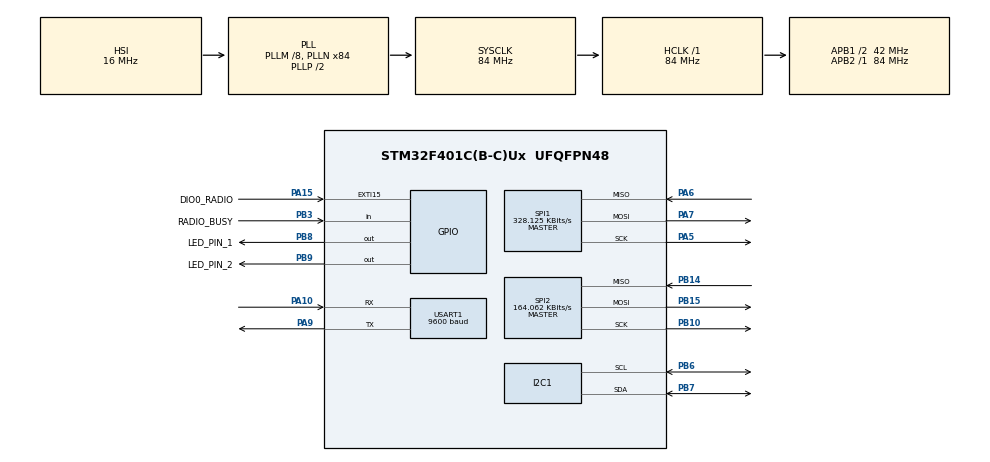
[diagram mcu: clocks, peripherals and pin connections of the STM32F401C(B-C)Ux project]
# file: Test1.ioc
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Mcu.Family=STM32F4
Mcu.Name=STM32F401C(B-C)Ux
Mcu.Package=UFQFPN48
NVIC.PriorityGroup=NVIC_PRIORITYGROUP_4
PA10.Mode=Asynchronous
PA10.Signal=USART1_RX
PA15.GPIO_Label=DIO0_RADIO
PA15.Signal=GPXTI15
PA5.Mode=Full_Duplex_Master
PA5.Signal=SPI1_SCK
PA6.Mode=Full_Duplex_Master
PA6.Signal=SPI1_MISO
PA7.Mode=Full_Duplex_Master
PA7.Signal=SPI1_MOSI
PA9.Mode=Asynchronous
PA9.Signal=USART1_TX
PB10.Mode=Full_Duplex_Master
PB10.Signal=SPI2_SCK
PB14.Mode=Full_Duplex_Master
PB14.Signal=SPI2_MISO
PB15.Mode=Full_Duplex_Master
PB15.Signal=SPI2_MOSI
PB3.GPIO_Label=RADIO_BUSY
PB3.Signal=GPIO_Input
PB6.Mode=I2C
PB6.Signal=I2C1_SCL
PB7.Mode=I2C
PB7.Signal=I2C1_SDA
PB8.GPIO_Label=LED_PIN_1
PB8.Signal=GPIO_Output
PB9.GPIO_Label=LED_PIN_2
PB9.Signal=GPIO_Output
PH0\ -\ OSC_IN.Mode=HSE-External-Oscillator
PH0\ -\ OSC_IN.Signal=RCC_OSC_IN
PH1\ -\ OSC_OUT.Mode=HSE-External-Oscillator
PH1\ -\ OSC_OUT.Signal=RCC_OSC_OUT
ProjectManager.HeapSize=0x400
ProjectManager.StackSize=0x800
ProjectManager.TargetToolchain=STM32CubeIDE
RCC.48MHZClocksFreq_Value=42000000
RCC.AHBFreq_Value=84000000
RCC.APB1CLKDivider=RCC_HCLK_DIV2
RCC.APB1Freq_Value=42000000
RCC.APB1TimFreq_Value=84000000
RCC.APB2Freq_Value=84000000
RCC.APB2TimFreq_Value=84000000
RCC.CortexFreq_Value=84000000
RCC.HCLKFreq_Value=84000000
RCC.HSE_VALUE=25000000
RCC.HSI_VALUE=16000000
RCC.LSE_VALUE=32768
RCC.PLLM=8
RCC.PLLN=84
RCC.SYSCLKFreq_VALUE=84000000
RCC.SYSCLKSource=RCC_SYSCLKSOURCE_PLLCLK
RCC.VCOOutputFreq_Value=168000000
SPI1.BaudRatePrescaler=SPI_BAUDRATEPRESCALER_256
SPI1.CalculateBaudRate=328.125 KBits/s
SPI1.Direction=SPI_DIRECTION_2LINES
SPI1.Mode=SPI_MODE_MASTER
SPI1.VirtualType=VM_MASTER
SPI2.BaudRatePrescaler=SPI_BAUDRATEPRESCALER_256
SPI2.CalculateBaudRate=164.062 KBits/s
SPI2.Direction=SPI_DIRECTION_2LINES
SPI2.Mode=SPI_MODE_MASTER
SPI2.VirtualType=VM_MASTER
USART1.BaudRate=9600
USART1.VirtualMode=VM_ASYNC
board=custom

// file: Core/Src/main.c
/* USER CODE BEGIN Header */
/**
  ******************************************************************************
  * @file           : main.c
  * @brief          : Main program body
  ******************************************************************************
  * @attention
  *
  * Copyright (c) 2026 STMicroelectronics.
  * All rights reserved.
  *
  * This software is licensed under terms that can be found in the LICENSE file
  * in the root directory of this software component.
  * If no LICENSE file comes with this software, it is provided AS-IS.
  *
  ******************************************************************************
  */
/* USER CODE END Header */
#include "main.h"
#include "i2c.h"
#include "spi.h"
#include "usart.h"
#include "gpio.h"

/* USER CODE BEGIN Includes */
#include "serial_print.h"
#include "lis3mdl.h"
#include "bmp388.h"
#include "mpu6050.h"
#include "hmc5883l.h"
#include "lora278.h"
#include "motor_control.h"
#include "pca9685.h"
#include <stdio.h>
#include <stdlib.h>
/* USER CODE END Includes */

/* USER CODE BEGIN PV */
typedef enum { STATE_WAIT, STATE_FLIGHT, STATE_EMERGENCY } State_t;
State_t current_state = STATE_WAIT;
/* USER CODE END PV */

void SystemClock_Config(void);

int main(void)
{

  /* MCU Configuration--------------------------------------------------------*/

  /* Reset of all peripherals, Initializes the Flash interface and the Systick. */
  HAL_Init();

  /* Configure the system clock */
  SystemClock_Config();

  /* Initialize all configured peripherals */
  MX_GPIO_Init();
  MX_USART1_UART_Init();
  MX_SPI2_Init();
  MX_I2C1_Init();
  MX_SPI1_Init();
  /* USER CODE BEGIN 2 */
  Serial_Printf(&huart1, "\r\n--- Step4_Logic INIT ---\r\n");

  uint32_t last_tick = HAL_GetTick();
  /* USER CODE END 2 */

  /* Infinite loop */
  /* USER CODE BEGIN WHILE */
  while (1)
  {
      if (HAL_GetTick() - last_tick >= 500) {
          last_tick = HAL_GetTick();

          // Симуляция показаний АЦП с помощью чтения состояния пина (например, PB12)
          // 0 - темно (в ракете), 1 - светло (отделение)
          int adc_sim = HAL_GPIO_ReadPin(GPIOB, GPIO_PIN_12) == GPIO_PIN_SET ? 1 : 0;

          if (current_state == STATE_WAIT) {
              Serial_Printf(&huart1, "[STATE: WAIT] Sensor: %d. Waiting for separation...\r\n", adc_sim);
              if (adc_sim == 1) {
                  current_state = STATE_FLIGHT;
                  Serial_Printf(&huart1, ">>> SEPARATION DETECTED! SWITCHING TO FLIGHT MODE <<<\r\n");
              }
          }
          else if (current_state == STATE_FLIGHT) {
              Serial_Printf(&huart1, "[STATE: FLIGHT] Stabilizing and planning...\r\n");
          }
      }

    /* USER CODE END WHILE */

  }
}

void SystemClock_Config(void)
{
  RCC_OscInitTypeDef RCC_OscInitStruct = {0};
  RCC_ClkInitTypeDef RCC_ClkInitStruct = {0};

  /** Configure the main internal regulator output voltage
  */
  __HAL_RCC_PWR_CLK_ENABLE();
  __HAL_PWR_VOLTAGESCALING_CONFIG(PWR_REGULATOR_VOLTAGE_SCALE2);

  /** Initializes the RCC Oscillators according to the specified parameters
  * in the RCC_OscInitTypeDef structure.
  */
  RCC_OscInitStruct.OscillatorType = RCC_OSCILLATORTYPE_HSI;
  RCC_OscInitStruct.HSIState = RCC_HSI_ON;
  RCC_OscInitStruct.HSICalibrationValue = RCC_HSICALIBRATION_DEFAULT;
  RCC_OscInitStruct.PLL.PLLState = RCC_PLL_ON;
  RCC_OscInitStruct.PLL.PLLSource = RCC_PLLSOURCE_HSI;
  RCC_OscInitStruct.PLL.PLLM = 8;
  RCC_OscInitStruct.PLL.PLLN = 84;
  RCC_OscInitStruct.PLL.PLLP = RCC_PLLP_DIV2;
  RCC_OscInitStruct.PLL.PLLQ = 4;
  if (HAL_RCC_OscConfig(&RCC_OscInitStruct) != HAL_OK)
  {
    Error_Handler();
  }

  /** Initializes the CPU, AHB and APB buses clocks
  */
  RCC_ClkInitStruct.ClockType = RCC_CLOCKTYPE_HCLK|RCC_CLOCKTYPE_SYSCLK
                              |RCC_CLOCKTYPE_PCLK1|RCC_CLOCKTYPE_PCLK2;
  RCC_ClkInitStruct.SYSCLKSource = RCC_SYSCLKSOURCE_PLLCLK;
  RCC_ClkInitStruct.AHBCLKDivider = RCC_SYSCLK_DIV1;
  RCC_ClkInitStruct.APB1CLKDivider = RCC_HCLK_DIV2;
  RCC_ClkInitStruct.APB2CLKDivider = RCC_HCLK_DIV1;

  if (HAL_RCC_ClockConfig(&RCC_ClkInitStruct, FLASH_LATENCY_2) != HAL_OK)
  {
    Error_Handler();
  }
}

void Error_Handler(void)
{
  __disable_irq();
  while (1)
  {
  }
}
